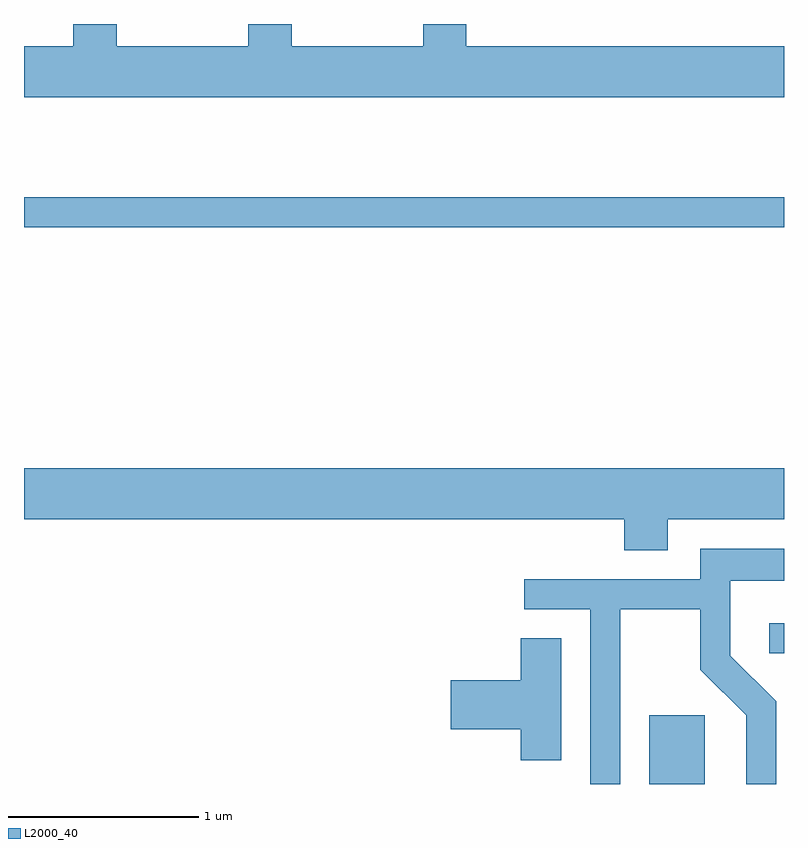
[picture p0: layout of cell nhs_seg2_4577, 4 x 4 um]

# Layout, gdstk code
import gdstk
lib = gdstk.Library(unit=1e-6, precision=1e-09)
def R(c, l, rs):  # rectangles x0, y0, x1, y1
    for r in rs: c.add(gdstk.rectangle(r[:2], r[2:], *l))
def P(c, l, *ps):  # polygons
    for p in ps: c.add(gdstk.Polygon(p, *l))
L2000_40 = (2000, 40)

nhs_seg2_4577 = lib.new_cell('nhs_seg2_4577')
R(nhs_seg2_4577, L2000_40, [(322.901,1055.802,323.194,1056.164), (323.533,1056.491,323.611,1056.649), (319.611,1058.731,323.611,1058.889)])
P(nhs_seg2_4577, L2000_40, [(323.611,1059.684),(321.939,1059.684),(321.939,1059.802),(321.711,1059.802),(321.711,1059.684),(321.019,1059.684),(321.019,1059.802),(320.791,1059.802),(320.791,1059.684),(320.099,1059.684),(320.099,1059.802),(319.871,1059.802),(319.871,1059.684),(319.611,1059.684),(319.611,1059.416),(323.611,1059.416)],
  [(322.999,1057.196),(323.611,1057.196),(323.611,1057.464),(319.611,1057.464),(319.611,1057.196),(322.771,1057.196),(322.771,1057.031),(322.999,1057.031)],
  [(322.749,1056.721),(323.171,1056.721),(323.171,1056.404),(323.411,1056.164),(323.411,1055.802),(323.569,1055.802),(323.569,1056.237),(323.329,1056.477),(323.329,1056.871),(323.611,1056.871),(323.611,1057.039),(323.171,1057.039),(323.171,1056.879),(322.243,1056.879),(322.243,1056.721),(322.591,1056.721),(322.591,1055.802),(322.749,1055.802)],
  [(322.439,1056.569),(322.226,1056.569),(322.226,1056.349),(321.856,1056.349),(321.856,1056.091),(322.226,1056.091),(322.226,1055.926),(322.439,1055.926)])

lib.write_gds('nhs_seg2_4577.gds')
